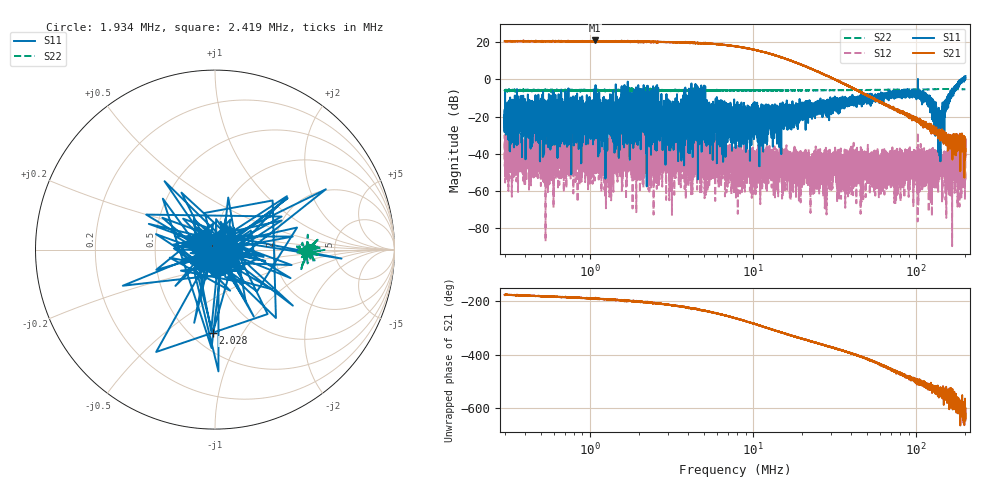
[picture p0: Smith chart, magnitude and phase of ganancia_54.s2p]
# Hz S DB R 50
! CMT, M5065, 19127446, 24.2.4/2
! Date: 11/1/2024 4:47:28 PM
! Data: Format (Calibration Info)
! Freq	S11:dB/Ang(F2)	S21:dB/Ang(F2)	S12:dB/Ang(F2)	S22:dB/Ang(F2)
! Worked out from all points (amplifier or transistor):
!   9000 points, 300 kHz to 200 MHz, reference 50 ohm
!   highest |S21| = 21.0 dB at 1.079 MHz (marker M1)
!   |S21| within 3 dB of that: start of sweep to 7.461 MHz (the widest 1 of 10)
!   unconditionally stable (mu >= 1): 4.958 MHz to 102.3 MHz; 102.4 MHz to 189.1 MHz; 189.3 MHz to 191 MHz (the widest 3 of 126)
!   at 886.8 kHz: K = 2.06, MAG = 22.2 dB, |S12| = -35.5 dB
!   at 7.749 MHz: K = 12.56, MAG = 19.3 dB, |S12| = -48.6 dB
!   at 200 MHz: K = -5422.15, MSG = 6.0 dB, |S12| = -50.6 dB
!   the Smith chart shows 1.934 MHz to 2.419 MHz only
!   S11 on the Smith chart (normalised r, x): 1.934 MHz: 0.92, +0.07; 2.028 MHz: 0.63, -0.75; 2.419 MHz: 1.30, -0.04
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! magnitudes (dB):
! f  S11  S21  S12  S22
! 300 kHz  -19.3  20.6  -43.4  -5.9
! 886.8 kHz  -12.0  20.6  -35.5  -6.2
! 1.079 MHz  -16.9  21.0  -40.5  -5.2
! 1.748 MHz  -15.6  20.3  -38.9  -6.0
! 1.934 MHz  -25.1  20.4  -39.1  -6.0
! 2.028 MHz  -6.6  20.4  -26.7  -6.3
! 2.419 MHz  -17.6  20.2  -41.4  -5.9
! 2.621 MHz  -26.9  20.3  -42.3  -5.9
! 3.727 MHz  -24.0  20.0  -44.1  -5.9
! 4.133 MHz  -17.6  19.7  -37.0  -6.0
! 4.754 MHz  -24.3  19.5  -41.8  -5.9
! 5.126 MHz  -21.9  19.4  -48.3  -5.8
! 6.065 MHz  -23.3  19.0  -38.1  -5.8
! 7.749 MHz  -20.9  17.9  -48.6  -5.8
! 22.91 MHz  -14.8  5.6  -41.1  -5.9
! 67.71 MHz  -7.9  -14.0  -56.8  -5.5
! 112 MHz  -11.1  -23.8  -49.5  -5.4
! 120.9 MHz  -9.6  -26.6  -46.0  -5.3
! 139.4 MHz  -31.3  -28.5  -43.3  -5.2
! 162.8 MHz  -9.5  -36.1  -45.8  -5.2
! 190.7 MHz  -0.2  -34.0  -40.9  -5.3
! 200 MHz  1.9  -38.6  -50.6  -5.3
